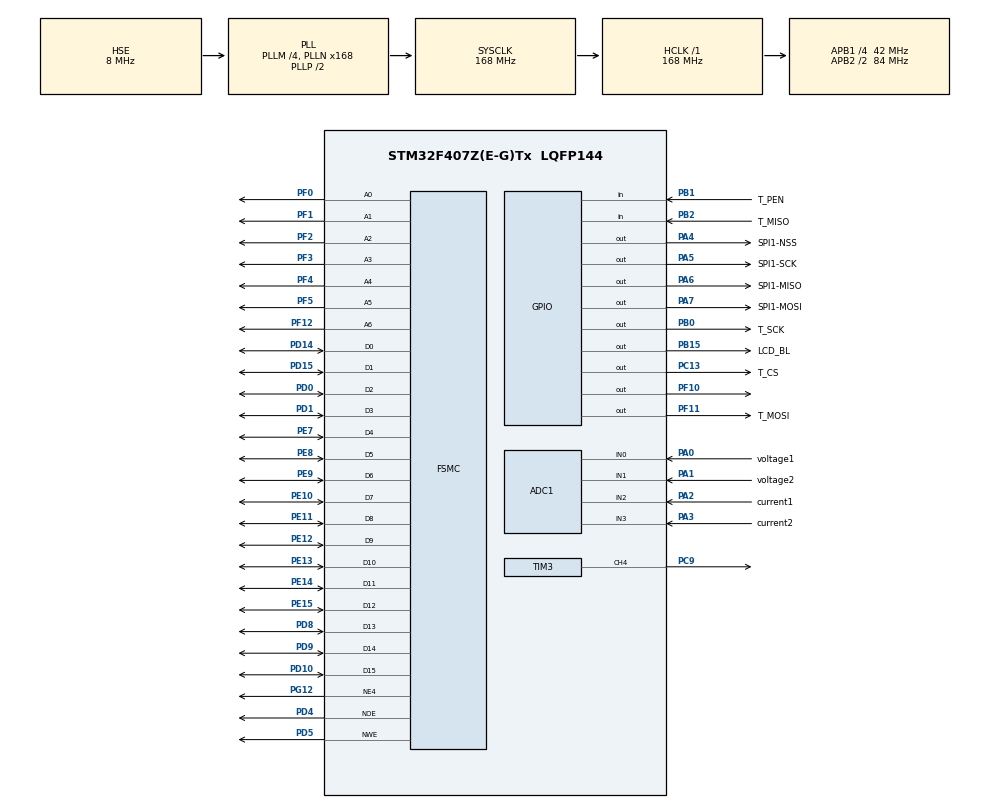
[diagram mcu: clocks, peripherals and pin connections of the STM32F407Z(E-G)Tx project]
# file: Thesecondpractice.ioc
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ADC1.Channel-4\#ChannelRegularConversion=ADC_CHANNEL_0
ADC1.Channel-5\#ChannelRegularConversion=ADC_CHANNEL_1
ADC1.Channel-6\#ChannelRegularConversion=ADC_CHANNEL_2
ADC1.Channel-7\#ChannelRegularConversion=ADC_CHANNEL_3
ADC1.ContinuousConvMode=ENABLE
ADC1.DMAContinuousRequests=ENABLE
ADC1.DiscontinuousConvMode=DISABLE
ADC1.NbrOfConversion=4
ADC1.NbrOfConversionFlag=1
ADC1.Rank-4\#ChannelRegularConversion=1
ADC1.Rank-5\#ChannelRegularConversion=2
ADC1.Rank-6\#ChannelRegularConversion=3
ADC1.Rank-7\#ChannelRegularConversion=4
ADC1.SamplingTime-4\#ChannelRegularConversion=ADC_SAMPLETIME_56CYCLES
ADC1.SamplingTime-5\#ChannelRegularConversion=ADC_SAMPLETIME_56CYCLES
ADC1.SamplingTime-6\#ChannelRegularConversion=ADC_SAMPLETIME_56CYCLES
ADC1.SamplingTime-7\#ChannelRegularConversion=ADC_SAMPLETIME_56CYCLES
ADC1.ScanConvMode=ENABLE
ADC1.master=1
Dma.ADC1.0.Direction=DMA_PERIPH_TO_MEMORY
Dma.ADC1.0.FIFOMode=DMA_FIFOMODE_DISABLE
Dma.ADC1.0.Instance=DMA2_Stream0
Dma.ADC1.0.MemDataAlignment=DMA_MDATAALIGN_HALFWORD
Dma.ADC1.0.MemInc=DMA_MINC_ENABLE
Dma.ADC1.0.Mode=DMA_CIRCULAR
Dma.ADC1.0.PeriphDataAlignment=DMA_PDATAALIGN_HALFWORD
Dma.ADC1.0.PeriphInc=DMA_PINC_DISABLE
Dma.ADC1.0.Priority=DMA_PRIORITY_HIGH
Dma.Request0=ADC1
FSMC.BusTurnAroundDuration1=1
FSMC.DataSetupTime1=46
FSMC.ExtendedBusTurnAroundDuration1=1
FSMC.ExtendedDataSetupTime1=15
FSMC.ExtendedMode1=FSMC_EXTENDED_MODE_ENABLE
FSMC.WriteOperation1=FSMC_WRITE_OPERATION_ENABLE
Mcu.Family=STM32F4
Mcu.Name=STM32F407Z(E-G)Tx
Mcu.Package=LQFP144
NVIC.ADC_IRQn=true\:0\:0\:false\:false\:true\:true\:true
NVIC.DMA2_Stream0_IRQn=true\:0\:0\:false\:false\:true\:false\:true
NVIC.PriorityGroup=NVIC_PRIORITYGROUP_2
NVIC.TIM4_IRQn=true\:0\:0\:false\:false\:true\:true\:true
PA0-WKUP.GPIO_Label=voltage1
PA0-WKUP.Signal=ADCx_IN0
PA1.GPIO_Label=voltage2
PA1.Signal=ADCx_IN1
PA2.GPIO_Label=current1
PA2.Signal=ADCx_IN2
PA3.GPIO_Label=current2
PA3.Signal=ADCx_IN3
PA4.GPIO_Label=SPI1-NSS
PA4.GPIO_PuPd=GPIO_PULLDOWN
PA4.GPIO_Speed=GPIO_SPEED_FREQ_HIGH
PA4.PinState=GPIO_PIN_SET
PA4.Signal=GPIO_Output
PA5.GPIO_Label=SPI1-SCK
PA5.GPIO_PuPd=GPIO_PULLDOWN
PA5.GPIO_Speed=GPIO_SPEED_FREQ_HIGH
PA5.PinState=GPIO_PIN_SET
PA5.Signal=GPIO_Output
PA6.GPIO_Label=SPI1-MISO
PA6.GPIO_PuPd=GPIO_PULLDOWN
PA6.GPIO_Speed=GPIO_SPEED_FREQ_HIGH
PA6.PinState=GPIO_PIN_SET
PA6.Signal=GPIO_Output
PA7.GPIO_Label=SPI1-MOSI
PA7.GPIO_ModeDefaultOutputPP=GPIO_MODE_OUTPUT_PP
PA7.GPIO_PuPd=GPIO_PULLUP
PA7.GPIO_Speed=GPIO_SPEED_FREQ_HIGH
PA7.PinState=GPIO_PIN_SET
PA7.Signal=GPIO_Output
PB0.GPIO_Label=T_SCK
PB0.GPIO_ModeDefaultOutputPP=GPIO_MODE_OUTPUT_PP
PB0.GPIO_PuPd=GPIO_NOPULL
PB0.GPIO_Speed=GPIO_SPEED_FREQ_LOW
PB0.PinState=GPIO_PIN_RESET
PB0.Signal=GPIO_Output
PB1.GPIO_Label=T_PEN
PB1.GPIO_Mode=GPIO_MODE_INPUT
PB1.GPIO_PuPd=GPIO_PULLUP
PB1.Signal=GPIO_Input
PB15.GPIO_Label=LCD_BL
PB15.PinState=GPIO_PIN_SET
PB15.Signal=GPIO_Output
PB2.GPIO_Label=T_MISO
PB2.GPIO_Mode=GPIO_MODE_INPUT
PB2.GPIO_PuPd=GPIO_PULLUP
PB2.Signal=GPIO_Input
PC13-ANTI_TAMP.GPIO_Label=T_CS
PC13-ANTI_TAMP.Signal=GPIO_Output
PC9.Signal=S_TIM3_CH4
PD0.Signal=FSMC_D2_DA2
PD1.Signal=FSMC_D3_DA3
PD10.Signal=FSMC_D15_DA15
PD14.Signal=FSMC_D0_DA0
PD15.Signal=FSMC_D1_DA1
PD4.Signal=FSMC_NOE
PD5.Signal=FSMC_NWE
PD8.Signal=FSMC_D13_DA13
PD9.Signal=FSMC_D14_DA14
PE10.Signal=FSMC_D7_DA7
PE11.Signal=FSMC_D8_DA8
PE12.Signal=FSMC_D9_DA9
PE13.Signal=FSMC_D10_DA10
PE14.Signal=FSMC_D11_DA11
PE15.Signal=FSMC_D12_DA12
PE7.Signal=FSMC_D4_DA4
PE8.Signal=FSMC_D5_DA5
PE9.Signal=FSMC_D6_DA6
PF0.Signal=FSMC_A0
PF1.Signal=FSMC_A1
PF10.Signal=GPIO_Output
PF11.GPIO_Label=T_MOSI
PF11.GPIO_ModeDefaultOutputPP=GPIO_MODE_OUTPUT_PP
PF11.GPIO_PuPd=GPIO_NOPULL
PF11.GPIO_Speed=GPIO_SPEED_FREQ_LOW
PF11.PinState=GPIO_PIN_RESET
PF11.Signal=GPIO_Output
PF12.Signal=FSMC_A6
PF2.Signal=FSMC_A2
PF3.Signal=FSMC_A3
PF4.Signal=FSMC_A4
PF5.Signal=FSMC_A5
PG12.Mode=NorPsramChipSelect4_1
PG12.Signal=FSMC_NE4
PH0-OSC_IN.Mode=HSE-External-Oscillator
PH0-OSC_IN.Signal=RCC_OSC_IN
PH1-OSC_OUT.Mode=HSE-External-Oscillator
PH1-OSC_OUT.Signal=RCC_OSC_OUT
ProjectManager.HeapSize=0x200
ProjectManager.StackSize=0x400
ProjectManager.TargetToolchain=Other Toolchains (GPDSC)
RCC.48MHZClocksFreq_Value=84000000
RCC.AHBFreq_Value=168000000
RCC.APB1CLKDivider=RCC_HCLK_DIV4
RCC.APB1Freq_Value=42000000
RCC.APB1TimFreq_Value=84000000
RCC.APB2CLKDivider=RCC_HCLK_DIV2
RCC.APB2Freq_Value=84000000
RCC.APB2TimFreq_Value=168000000
RCC.CortexFreq_Value=168000000
RCC.HCLKFreq_Value=168000000
RCC.HSE_VALUE=8000000
RCC.HSI_VALUE=16000000
RCC.LSE_VALUE=32768
RCC.PLLM=4
RCC.PLLN=168
RCC.PLLSourceVirtual=RCC_PLLSOURCE_HSE
RCC.SYSCLKFreq_VALUE=168000000
RCC.SYSCLKSource=RCC_SYSCLKSOURCE_PLLCLK
RCC.VCOOutputFreq_Value=336000000
SH.ADCx_IN0.0=ADC1_IN0,IN0
SH.ADCx_IN1.0=ADC1_IN1,IN1
SH.ADCx_IN2.0=ADC1_IN2,IN2
SH.ADCx_IN3.0=ADC1_IN3,IN3
SH.FSMC_A0.0=FSMC_A0,7b-a1
SH.FSMC_A1.0=FSMC_A1,7b-a1
SH.FSMC_A2.0=FSMC_A2,7b-a1
SH.FSMC_A3.0=FSMC_A3,7b-a1
SH.FSMC_A4.0=FSMC_A4,7b-a1
SH.FSMC_A5.0=FSMC_A5,7b-a1
SH.FSMC_A6.0=FSMC_A6,7b-a1
SH.FSMC_D0_DA0.0=FSMC_D0,16b-d1
SH.FSMC_D10_DA10.0=FSMC_D10,16b-d1
SH.FSMC_D11_DA11.0=FSMC_D11,16b-d1
SH.FSMC_D12_DA12.0=FSMC_D12,16b-d1
SH.FSMC_D13_DA13.0=FSMC_D13,16b-d1
SH.FSMC_D14_DA14.0=FSMC_D14,16b-d1
SH.FSMC_D15_DA15.0=FSMC_D15,16b-d1
SH.FSMC_D1_DA1.0=FSMC_D1,16b-d1
SH.FSMC_D2_DA2.0=FSMC_D2,16b-d1
SH.FSMC_D3_DA3.0=FSMC_D3,16b-d1
SH.FSMC_D4_DA4.0=FSMC_D4,16b-d1
SH.FSMC_D5_DA5.0=FSMC_D5,16b-d1
SH.FSMC_D6_DA6.0=FSMC_D6,16b-d1
SH.FSMC_D7_DA7.0=FSMC_D7,16b-d1
SH.FSMC_D8_DA8.0=FSMC_D8,16b-d1
SH.FSMC_D9_DA9.0=FSMC_D9,16b-d1
SH.FSMC_NOE.0=FSMC_NOE,Sram1
SH.FSMC_NWE.0=FSMC_NWE,Sram1
SH.S_TIM3_CH4.0=TIM3_CH4,PWM Generation4 CH4
TIM3.Channel-PWM\ Generation4\ CH4=TIM_CHANNEL_4
TIM3.OCPolarity_4=TIM_OCPOLARITY_LOW
TIM3.Period=4999
TIM3.Prescaler=8999
TIM3.Pulse-PWM\ Generation4\ CH4=2500
TIM4.Period=499
TIM4.Prescaler=8999
VP_TIM4_VS_ClockSourceINT.Mode=Internal
board=custom

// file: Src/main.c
/* USER CODE BEGIN Header */
/**
  ******************************************************************************
  * @file           : main.c
  * @brief          : Main program body
  ******************************************************************************
  * @attention
  *
  * <h2><center>&copy; Copyright (c) 2019 STMicroelectronics.
  * All rights reserved.</center></h2>
  *
  * This software component is licensed by ST under BSD 3-Clause license,
  * the "License"; You may not use this file except in compliance with the
  * License. You may obtain a copy of the License at:
  *                        opensource.org/licenses/BSD-3-Clause
  *
  ******************************************************************************
  */
/* USER CODE END Header */

#include "main.h"
#include "adc.h"
#include "dma.h"
#include "tim.h"
#include "gpio.h"
#include "fsmc.h"

/* USER CODE BEGIN Includes */
#include"xpt2046.h"
#include"ili9341.h"
#include"stdio.h"
#include"delay.h"
#include"stdio.h"
#include"string.h"
#include"stdlib.h"
#include"9834.h"
#include"time.h"
#include"race_car.h"
//#include "xpt2046.h"
/* USER CODE END Includes */

void SystemClock_Config(void);
/* USER CODE BEGIN PFP */
//void LCD_ShowFloatnum(uint16_t x, uint16_t y, float num, uint8_t size);
/* USER CODE END PFP */

/* USER CODE BEGIN 0 */
//游戏机定义

/////////////////////////////////////////////////////////////////////////////
/////////////////////////////////////////////////////////////////////////////
//赛车手
//typedef struct Moving_car {
//    uint16_t left_up_x;
//    int      left_up_y;
//    uint16_t width;
//    uint16_t height;
//    uint16_t color;
//    uint16_t condition;
//};
#define car_living 1
#define car_dead   0
int race_score = -1;
int car_condition = 1;//初始定义赛车存活
int car_speed = 3;
int car_location;

uint16_t key1_x = 0;
uint16_t key1_y = 260;
uint16_t key2_x = 120;
uint16_t key2_y = 260;
uint16_t key_width_height = 60;
Moving_car car1, car2, car3, car4, car5, car6, player_car;

/* USER CODE END 0 */

int main(void)
{
  /* USER CODE BEGIN 1 */
    srand((unsigned)time(NULL));
  /* USER CODE END 1 */

  /* MCU Configuration--------------------------------------------------------*/

  /* Reset of all peripherals, Initializes the Flash interface and the Systick. */
  HAL_Init();

  /* Configure the system clock */
  SystemClock_Config();

  /* Initialize all configured peripherals */
  MX_GPIO_Init();
  MX_DMA_Init();
  MX_TIM3_Init();
  MX_FSMC_Init();
  MX_ADC1_Init();
  MX_TIM4_Init();
  /* USER CODE BEGIN 2 */
  delay_init(168);
  LCD_Init();
  TOUCH_Init();
  /* USER CODE END 2 */

  /* Infinite loop */
  /* USER CODE BEGIN WHILE */
  race_car_main();
    /* USER CODE END WHILE */

    /* USER CODE BEGIN 3 */
  return 0;
  /* USER CODE END 3 */
}

void SystemClock_Config(void)
{
  RCC_OscInitTypeDef RCC_OscInitStruct = {0};
  RCC_ClkInitTypeDef RCC_ClkInitStruct = {0};

  /** Configure the main internal regulator output voltage
  */
  __HAL_RCC_PWR_CLK_ENABLE();
  __HAL_PWR_VOLTAGESCALING_CONFIG(PWR_REGULATOR_VOLTAGE_SCALE1);
  /** Initializes the CPU, AHB and APB busses clocks
  */
  RCC_OscInitStruct.OscillatorType = RCC_OSCILLATORTYPE_HSE;
  RCC_OscInitStruct.HSEState = RCC_HSE_ON;
  RCC_OscInitStruct.PLL.PLLState = RCC_PLL_ON;
  RCC_OscInitStruct.PLL.PLLSource = RCC_PLLSOURCE_HSE;
  RCC_OscInitStruct.PLL.PLLM = 4;
  RCC_OscInitStruct.PLL.PLLN = 168;
  RCC_OscInitStruct.PLL.PLLP = RCC_PLLP_DIV2;
  RCC_OscInitStruct.PLL.PLLQ = 4;
  if (HAL_RCC_OscConfig(&RCC_OscInitStruct) != HAL_OK)
  {
    Error_Handler();
  }
  /** Initializes the CPU, AHB and APB busses clocks
  */
  RCC_ClkInitStruct.ClockType = RCC_CLOCKTYPE_HCLK|RCC_CLOCKTYPE_SYSCLK
                              |RCC_CLOCKTYPE_PCLK1|RCC_CLOCKTYPE_PCLK2;
  RCC_ClkInitStruct.SYSCLKSource = RCC_SYSCLKSOURCE_PLLCLK;
  RCC_ClkInitStruct.AHBCLKDivider = RCC_SYSCLK_DIV1;
  RCC_ClkInitStruct.APB1CLKDivider = RCC_HCLK_DIV4;
  RCC_ClkInitStruct.APB2CLKDivider = RCC_HCLK_DIV2;

  if (HAL_RCC_ClockConfig(&RCC_ClkInitStruct, FLASH_LATENCY_5) != HAL_OK)
  {
    Error_Handler();
  }
}

void Error_Handler(void)
{
}

/************************ (C) COPYRIGHT STMicroelectronics *****END OF FILE****/
